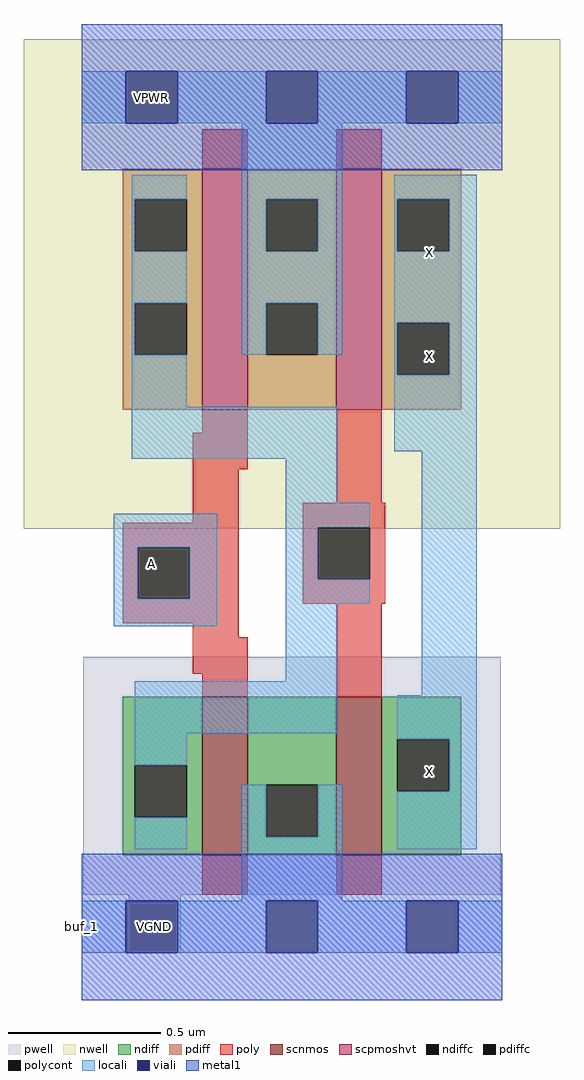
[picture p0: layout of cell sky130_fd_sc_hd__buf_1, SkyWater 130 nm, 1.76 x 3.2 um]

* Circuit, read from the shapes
.subckt sky130_fd_sc_hd__buf_1 VGND VPWR VPB VNB X A
XM1 VGND A n1 VNB sky130_fd_pr__nfet_01v8 w=0.52 l=0.15
XM2 X n1 VGND VNB sky130_fd_pr__nfet_01v8 w=0.52 l=0.15
XM3 VPWR A n1 VPB sky130_fd_pr__pfet_01v8_hvt w=0.79 l=0.15
XM4 X n1 VPWR VPB sky130_fd_pr__pfet_01v8_hvt w=0.79 l=0.15
.ends

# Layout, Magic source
magic
tech sky130B
magscale 1 2
<< nwell >>
rect -38 221 314 542
<< pwell >>
rect 1 -19 275 137
rect 31 -57 65 -19
<< scnmos >>
rect 79 7 109 111
rect 167 7 197 111
<< scpmoshvt >>
rect 79 299 109 457
rect 167 299 197 457
<< ndiff >>
rect 27 66 79 111
rect 27 32 35 66
rect 69 32 79 66
rect 27 7 79 32
rect 109 53 167 111
rect 109 19 121 53
rect 155 19 167 53
rect 109 7 167 19
rect 197 83 249 111
rect 197 49 207 83
rect 241 49 249 83
rect 197 7 249 49
<< pdiff >>
rect 27 437 79 457
rect 27 403 35 437
rect 69 403 79 437
rect 27 369 79 403
rect 27 335 35 369
rect 69 335 79 369
rect 27 299 79 335
rect 109 437 167 457
rect 109 403 121 437
rect 155 403 167 437
rect 109 369 167 403
rect 109 335 121 369
rect 155 335 167 369
rect 109 299 167 335
rect 197 437 249 457
rect 197 403 207 437
rect 241 403 249 437
rect 197 356 249 403
rect 197 322 207 356
rect 241 322 249 356
rect 197 299 249 322
<< ndiffc >>
rect 35 32 69 66
rect 121 19 155 53
rect 207 49 241 83
<< pdiffc >>
rect 35 403 69 437
rect 35 335 69 369
rect 121 403 155 437
rect 121 335 155 369
rect 207 403 241 437
rect 207 322 241 356
<< poly >>
rect 79 457 109 483
rect 167 457 197 483
rect 79 284 109 299
rect 73 260 109 284
rect 73 225 103 260
rect 167 238 197 299
rect 27 209 103 225
rect 27 175 37 209
rect 71 175 103 209
rect 27 159 103 175
rect 145 222 199 238
rect 145 188 155 222
rect 189 188 199 222
rect 145 172 199 188
rect 73 150 103 159
rect 73 126 109 150
rect 79 111 109 126
rect 167 111 197 172
rect 79 -19 109 7
rect 167 -19 197 7
<< polycont >>
rect 37 175 71 209
rect 155 188 189 222
<< locali >>
rect 0 487 29 521
rect 63 487 121 521
rect 155 487 213 521
rect 247 487 276 521
rect 33 437 69 453
rect 33 403 35 437
rect 33 369 69 403
rect 33 335 35 369
rect 105 437 171 487
rect 105 403 121 437
rect 155 403 171 437
rect 105 369 171 403
rect 105 335 121 369
rect 155 335 171 369
rect 205 437 259 453
rect 205 403 207 437
rect 241 403 259 437
rect 205 356 259 403
rect 33 301 69 335
rect 205 322 207 356
rect 241 322 259 356
rect 33 267 168 301
rect 205 272 259 322
rect 134 238 168 267
rect 21 209 89 231
rect 21 175 37 209
rect 71 175 89 209
rect 21 157 89 175
rect 134 222 189 238
rect 134 188 155 222
rect 134 172 189 188
rect 134 121 168 172
rect 35 87 168 121
rect 223 112 259 272
rect 35 66 69 87
rect 207 83 259 112
rect 35 11 69 32
rect 105 19 121 53
rect 155 19 171 53
rect 105 -23 171 19
rect 241 49 259 83
rect 207 11 259 49
rect 0 -57 29 -23
rect 63 -57 121 -23
rect 155 -57 213 -23
rect 247 -57 276 -23
<< viali >>
rect 29 487 63 521
rect 121 487 155 521
rect 213 487 247 521
rect 29 -57 63 -23
rect 121 -57 155 -23
rect 213 -57 247 -23
<< metal1 >>
rect 0 521 276 552
rect 0 487 29 521
rect 63 487 121 521
rect 155 487 213 521
rect 247 487 276 521
rect 0 456 276 487
rect 0 -23 276 8
rect 0 -57 29 -23
rect 63 -57 121 -23
rect 155 -57 213 -23
rect 247 -57 276 -23
rect 0 -88 276 -57
<< labels >>
rlabel comment s 0 -40 0 -40 4 buf_1
flabel metal1 s 31 -57 65 -23 0 FreeSans 200 0 0 0 VGND
port 2 nsew
flabel metal1 s 29 487 63 521 0 FreeSans 200 0 0 0 VPWR
port 3 nsew
flabel nwell s 29 487 63 521 0 FreeSans 200 0 0 0 VPB
port 5 nsew
flabel pwell s 31 -57 65 -23 0 FreeSans 200 0 0 0 VNB
port 6 nsew
flabel locali s 29 487 63 521 0 FreeSans 200 0 0 0 VPWR
port 3 nsew
flabel locali s 31 -57 65 -23 0 FreeSans 200 0 0 0 VGND
port 2 nsew
flabel locali s 211 45 245 79 0 FreeSans 200 0 0 0 X
port 7 nsew
flabel locali s 211 317 245 351 0 FreeSans 200 0 0 0 X
port 7 nsew
flabel locali s 211 385 245 419 0 FreeSans 200 0 0 0 X
port 7 nsew
flabel locali s 29 181 63 215 0 FreeSans 200 0 0 0 A
port 8 nsew
<< properties >>
string FIXED_BBOX 0 -40 276 504
string path 0.000 12.600 6.900 12.600 
<< end >>
